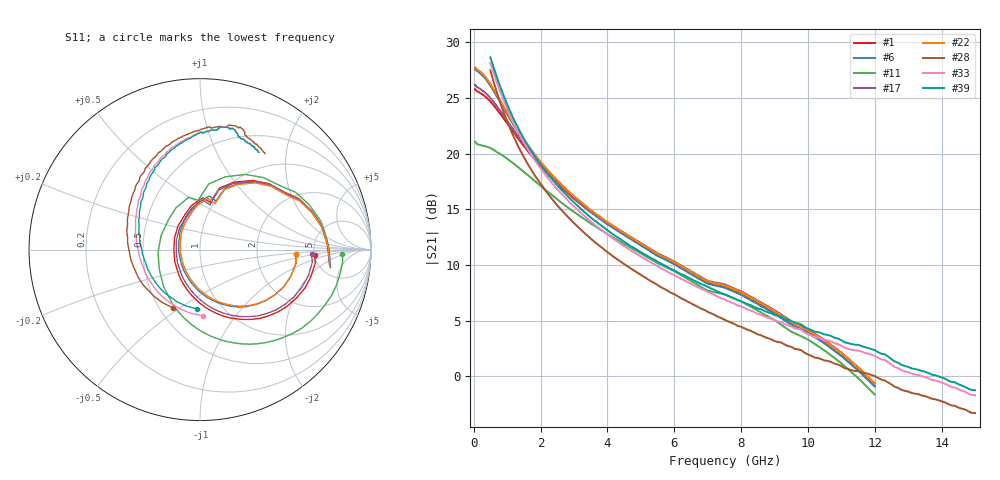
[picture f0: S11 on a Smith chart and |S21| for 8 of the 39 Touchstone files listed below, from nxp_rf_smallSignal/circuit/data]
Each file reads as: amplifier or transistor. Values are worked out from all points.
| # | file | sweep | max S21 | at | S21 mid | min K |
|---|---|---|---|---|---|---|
| 1 | bfg410W_3V_9mA.s2p | 40 MHz to 12 GHz | 25.8 dB | 40 MHz | 17.6 dB at 2.4 GHz | 0.22 |
| 2 | bfg410W_3V_10mA.s2p | 40 MHz to 12 GHz | 26.2 dB | 40 MHz | 17.7 dB at 2.4 GHz | 0.28 |
| 3 | bfg410W_3V_11mA.s2p | 40 MHz to 12 GHz | 26.7 dB | 40 MHz | 17.7 dB at 2.4 GHz | 0.29 |
| 4 | bfg410W_3V_12mA.s2p | 40 MHz to 12 GHz | 27.0 dB | 40 MHz | 17.8 dB at 2.4 GHz | 0.31 |
| 5 | bfg410W_3V_13mA.s2p | 40 MHz to 12 GHz | 27.3 dB | 40 MHz | 17.8 dB at 2.4 GHz | 0.32 |
| 6 | bfg410W_3V_14mA.s2p | 40 MHz to 12 GHz | 27.6 dB | 40 MHz | 17.8 dB at 2.4 GHz | 0.33 |
| 7 | bfg410W_3V_15mA.s2p | 40 MHz to 12 GHz | 27.8 dB | 40 MHz | 17.7 dB at 2.4 GHz | 0.34 |
| 8 | bfg410W_4V_1mA.s2p | 40 MHz to 12 GHz | 10.6 dB | 40 MHz | 9.4 dB at 2.4 GHz | 0.06 |
| 9 | bfg410W_4V_2mA.s2p | 40 MHz to 12 GHz | 16.1 dB | 40 MHz | 13.5 dB at 2.4 GHz | 0.15 |
| 10 | bfg410W_4V_3mA.s2p | 40 MHz to 12 GHz | 19.1 dB | 40 MHz | 15.2 dB at 2.4 GHz | 0.19 |
| 11 | bfg410W_4V_4mA.s2p | 40 MHz to 12 GHz | 21.1 dB | 40 MHz | 16.1 dB at 2.4 GHz | 0.22 |
| 12 | bfg410W_4V_5mA.s2p | 40 MHz to 12 GHz | 22.4 dB | 40 MHz | 16.7 dB at 2.4 GHz | 0.26 |
| 13 | bfg410W_4V_6mA.s2p | 40 MHz to 12 GHz | 23.5 dB | 40 MHz | 17.1 dB at 2.4 GHz | 0.28 |
| 14 | bfg410W_4V_7mA.s2p | 40 MHz to 12 GHz | 24.4 dB | 40 MHz | 17.3 dB at 2.4 GHz | 0.30 |
| 15 | bfg410W_4V_8mA.s2p | 40 MHz to 12 GHz | 25.1 dB | 40 MHz | 17.5 dB at 2.4 GHz | 0.32 |
| 16 | bfg410W_4V_9mA.s2p | 40 MHz to 12 GHz | 25.7 dB | 40 MHz | 17.7 dB at 2.4 GHz | 0.33 |
| 17 | bfg410W_4V_10mA.s2p | 40 MHz to 12 GHz | 26.2 dB | 40 MHz | 17.8 dB at 2.4 GHz | 0.33 |
| 18 | bfg410W_4V_11mA.s2p | 40 MHz to 12 GHz | 26.6 dB | 40 MHz | 17.8 dB at 2.4 GHz | 0.33 |
| 19 | bfg410W_4V_12mA.s2p | 40 MHz to 12 GHz | 26.9 dB | 40 MHz | 17.9 dB at 2.4 GHz | 0.35 |
| 20 | bfg410W_4V_13mA.s2p | 40 MHz to 12 GHz | 27.2 dB | 40 MHz | 17.9 dB at 2.4 GHz | 0.35 |
| 21 | bfg410W_4V_14mA.s2p | 40 MHz to 12 GHz | 27.5 dB | 40 MHz | 17.9 dB at 2.4 GHz | 0.36 |
| 22 | bfg410W_4V_15mA.s2p | 40 MHz to 12 GHz | 27.7 dB | 40 MHz | 17.9 dB at 2.4 GHz | 0.36 |
| 23 | BFG424F_1V_3mA.s2p | 500 MHz to 15 GHz | 19.3 dB | 500 MHz | 3.1 dB at 7.8 GHz | 0.10 |
| 24 | BFG424F_1V_5mA.s2p | 500 MHz to 15 GHz | 22.1 dB | 500 MHz | 4.1 dB at 7.8 GHz | 0.15 |
| 25 | BFG424F_1V_10mA.s2p | 500 MHz to 15 GHz | 25.7 dB | 500 MHz | 5.0 dB at 7.8 GHz | 0.32 |
| 26 | BFG424F_1V_15mA.s2p | 500 MHz to 15 GHz | 27.0 dB | 500 MHz | 5.2 dB at 7.8 GHz | 0.44 |
| 27 | BFG424F_1V_20mA.s2p | 500 MHz to 15 GHz | 27.4 dB | 500 MHz | 5.1 dB at 7.8 GHz | 0.54 |
| 28 | BFG424F_1V_25mA.s2p | 500 MHz to 15 GHz | 27.5 dB | 500 MHz | 4.7 dB at 7.8 GHz | 0.64 |
| 29 | BFG424F_2V_3mA.s2p | 500 MHz to 15 GHz | 19.7 dB | 500 MHz | 4.1 dB at 7.8 GHz | 0.09 |
| 30 | BFG424F_2V_5mA.s2p | 500 MHz to 15 GHz | 22.5 dB | 500 MHz | 5.1 dB at 7.8 GHz | 0.15 |
| 31 | BFG424F_2V_10mA.s2p | 500 MHz to 15 GHz | 25.9 dB | 500 MHz | 6.1 dB at 7.8 GHz | 0.29 |
| 32 | BFG424F_2V_15mA.s2p | 500 MHz to 15 GHz | 27.4 dB | 500 MHz | 6.5 dB at 7.8 GHz | 0.41 |
| 33 | BFG424F_2V_20mA.s2p | 500 MHz to 15 GHz | 28.1 dB | 500 MHz | 6.5 dB at 7.8 GHz | 0.50 |
| 34 | BFG424F_2V_25mA.s2p | 500 MHz to 15 GHz | 28.4 dB | 500 MHz | 6.5 dB at 7.8 GHz | 0.56 |
| 35 | BFG424F_3V_5mA.s2p | 500 MHz to 15 GHz | 22.8 dB | 500 MHz | 5.6 dB at 7.8 GHz | 0.16 |
| 36 | BFG424F_3V_10mA.s2p | 500 MHz to 15 GHz | 26.2 dB | 500 MHz | 6.6 dB at 7.8 GHz | 0.30 |
| 37 | BFG424F_3V_15mA.s2p | 500 MHz to 15 GHz | 27.5 dB | 500 MHz | 6.9 dB at 7.8 GHz | 0.40 |
| 38 | BFG424F_3V_20mA.s2p | 500 MHz to 15 GHz | 28.3 dB | 500 MHz | 7.0 dB at 7.8 GHz | 0.49 |
| 39 | BFG424F_3V_25mA.s2p | 500 MHz to 15 GHz | 28.6 dB | 500 MHz | 7.0 dB at 7.8 GHz | 0.56 |
